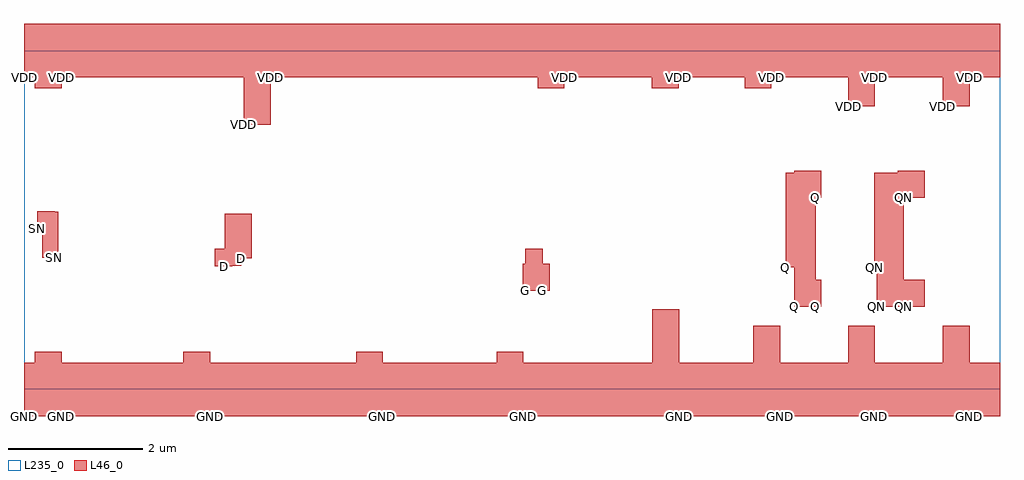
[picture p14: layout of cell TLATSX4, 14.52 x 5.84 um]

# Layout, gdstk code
import gdstk
lib = gdstk.Library(unit=1e-6, precision=1e-09)
def R(c, l, rs):  # rectangles x0, y0, x1, y1
    for r in rs: c.add(gdstk.rectangle(r[:2], r[2:], *l))
def A(c, l, x, y, w, h, nx, ny, dx, dy):  # array of equal rectangles
    R(c, l, [(x+i*dx, y+j*dy, x+i*dx+w, y+j*dy+h) for i in range(nx) for j in range(ny)])
L46_0 = (46, 0)
L235_0 = (235, 0)

tlatsx4 = lib.new_cell('TLATSX4')
A(tlatsx4, L46_0, 10.85, -0.4, 0.4, 1.35, 3, 1, 1.41, 0)
R(tlatsx4, L46_0, [(0,-0.4,0.16,0.4), (0.16,-0.4,0.56,0.56), (0.56,-0.4,2.37,0.4), (2.37,-0.4,2.77,0.56), (2.77,-0.4,4.94,0.4), (4.94,-0.4,5.34,0.56), (5.34,-0.4,7.03,0.4), (7.03,-0.4,7.43,0.56), (7.43,-0.4,9.35,0.4), (9.35,-0.4,9.75,1.19), (9.75,-0.4,10.85,0.4), (11.25,-0.4,12.26,0.4), (12.66,-0.4,13.67,0.4), (14.07,-0.4,14.52,0.4), (11.46,1.23,11.78,3.25), (11.78,1.23,11.86,1.63), (12.69,1.23,13,3.22), (13,1.23,13.09,3.25), (13.09,1.23,13.4,1.63), (7.42,1.47,7.46,1.87), (7.46,1.47,7.72,2.09), (7.72,1.47,7.82,1.87), (11.33,1.82,11.46,3.22), (12.65,1.82,12.69,3.22), (2.84,1.83,2.99,2.09), (2.99,1.83,3.1,2.61), (3.1,1.84,3.23,2.61), (3.23,1.95,3.39,2.61), (0.27,1.96,0.46,2.65), (0.46,1.96,0.51,2.64), (0.2,2.39,0.27,2.65), (11.78,2.85,11.86,3.25), (13.09,2.85,13.4,3.25), (3.27,3.94,3.67,5.44), (12.26,4.21,12.66,5.44), (13.67,4.21,14.07,5.44), (0.16,4.48,0.56,5.44), (7.64,4.48,8.04,5.44), (9.34,4.48,9.74,5.44), (10.72,4.48,11.12,5.44), (0,4.64,0.16,5.44), (0.56,4.64,3.27,5.44), (3.67,4.64,7.64,5.44), (8.04,4.64,9.34,5.44), (9.74,4.64,10.72,5.44), (11.12,4.64,12.26,5.44), (12.66,4.64,13.67,5.44), (14.07,4.64,14.52,5.44)])
R(tlatsx4, L235_0, [(0,0,14.52,5.04)])
tlatsx4.add(gdstk.Label('SN', (0.46,1.96), layer=101, texttype=0))
tlatsx4.add(gdstk.Label('SN', (0.27,1.96), layer=101, texttype=0))
tlatsx4.add(gdstk.Label('SN', (0.2,2.39), layer=101, texttype=0))
tlatsx4.add(gdstk.Label('QN', (13.09,1.23), layer=101, texttype=0))
tlatsx4.add(gdstk.Label('QN', (13.09,2.85), layer=101, texttype=0))
tlatsx4.add(gdstk.Label('QN', (13,1.23), layer=101, texttype=0))
tlatsx4.add(gdstk.Label('QN', (12.69,1.23), layer=101, texttype=0))
tlatsx4.add(gdstk.Label('QN', (12.65,1.82), layer=101, texttype=0))
tlatsx4.add(gdstk.Label('Q', (11.78,1.23), layer=101, texttype=0))
tlatsx4.add(gdstk.Label('Q', (11.78,2.85), layer=101, texttype=0))
tlatsx4.add(gdstk.Label('Q', (11.46,1.23), layer=101, texttype=0))
tlatsx4.add(gdstk.Label('Q', (11.33,1.82), layer=101, texttype=0))
tlatsx4.add(gdstk.Label('G', (7.72,1.47), layer=101, texttype=0))
tlatsx4.add(gdstk.Label('G', (7.46,1.47), layer=101, texttype=0))
tlatsx4.add(gdstk.Label('G', (7.42,1.47), layer=101, texttype=0))
tlatsx4.add(gdstk.Label('D', (3.23,1.95), layer=101, texttype=0))
tlatsx4.add(gdstk.Label('D', (3.1,1.84), layer=101, texttype=0))
tlatsx4.add(gdstk.Label('D', (2.99,1.83), layer=101, texttype=0))
tlatsx4.add(gdstk.Label('D', (2.84,1.83), layer=101, texttype=0))
tlatsx4.add(gdstk.Label('VDD', (14.07,4.64), layer=101, texttype=0))
tlatsx4.add(gdstk.Label('VDD', (13.67,4.21), layer=101, texttype=0))
tlatsx4.add(gdstk.Label('VDD', (12.66,4.64), layer=101, texttype=0))
tlatsx4.add(gdstk.Label('VDD', (12.26,4.21), layer=101, texttype=0))
tlatsx4.add(gdstk.Label('VDD', (11.12,4.64), layer=101, texttype=0))
tlatsx4.add(gdstk.Label('VDD', (10.72,4.48), layer=101, texttype=0))
tlatsx4.add(gdstk.Label('VDD', (9.74,4.64), layer=101, texttype=0))
tlatsx4.add(gdstk.Label('VDD', (9.34,4.48), layer=101, texttype=0))
tlatsx4.add(gdstk.Label('VDD', (8.04,4.64), layer=101, texttype=0))
tlatsx4.add(gdstk.Label('VDD', (7.64,4.48), layer=101, texttype=0))
tlatsx4.add(gdstk.Label('VDD', (3.67,4.64), layer=101, texttype=0))
tlatsx4.add(gdstk.Label('VDD', (3.27,3.94), layer=101, texttype=0))
tlatsx4.add(gdstk.Label('VDD', (0.56,4.64), layer=101, texttype=0))
tlatsx4.add(gdstk.Label('VDD', (0.16,4.48), layer=101, texttype=0))
tlatsx4.add(gdstk.Label('VDD', (0,4.64), layer=101, texttype=0))
tlatsx4.add(gdstk.Label('GND', (14.07,-0.4), layer=101, texttype=0))
tlatsx4.add(gdstk.Label('GND', (13.67,-0.4), layer=101, texttype=0))
tlatsx4.add(gdstk.Label('GND', (12.66,-0.4), layer=101, texttype=0))
tlatsx4.add(gdstk.Label('GND', (12.26,-0.4), layer=101, texttype=0))
tlatsx4.add(gdstk.Label('GND', (11.25,-0.4), layer=101, texttype=0))
tlatsx4.add(gdstk.Label('GND', (10.85,-0.4), layer=101, texttype=0))
tlatsx4.add(gdstk.Label('GND', (9.75,-0.4), layer=101, texttype=0))
tlatsx4.add(gdstk.Label('GND', (9.35,-0.4), layer=101, texttype=0))
tlatsx4.add(gdstk.Label('GND', (7.43,-0.4), layer=101, texttype=0))
tlatsx4.add(gdstk.Label('GND', (7.03,-0.4), layer=101, texttype=0))
tlatsx4.add(gdstk.Label('GND', (5.34,-0.4), layer=101, texttype=0))
tlatsx4.add(gdstk.Label('GND', (4.94,-0.4), layer=101, texttype=0))
tlatsx4.add(gdstk.Label('GND', (2.77,-0.4), layer=101, texttype=0))
tlatsx4.add(gdstk.Label('GND', (2.37,-0.4), layer=101, texttype=0))
tlatsx4.add(gdstk.Label('GND', (0.56,-0.4), layer=101, texttype=0))
tlatsx4.add(gdstk.Label('GND', (0.16,-0.4), layer=101, texttype=0))
tlatsx4.add(gdstk.Label('GND', (0,-0.4), layer=101, texttype=0))

lib.write_gds('TLATSX4.gds')
